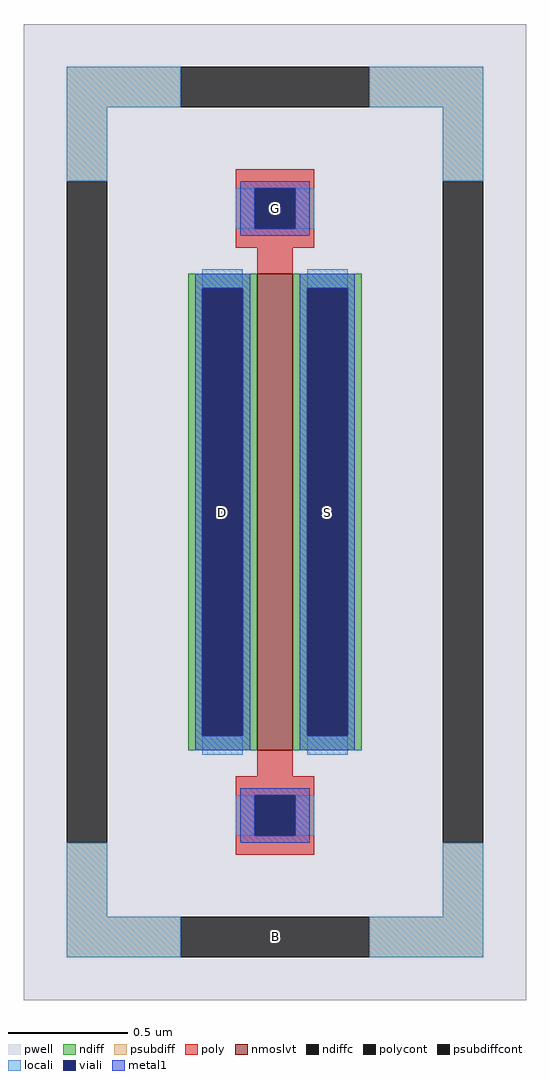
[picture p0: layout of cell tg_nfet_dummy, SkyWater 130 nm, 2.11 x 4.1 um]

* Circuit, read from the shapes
.subckt tg_nfet_dummy B D S G
XM1 S G D B sky130_fd_pr__nfet_01v8_lvt w=2 l=0.15
.ends

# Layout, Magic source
magic
tech sky130A
magscale 1 2
<< pwell >>
rect -211 -410 211 410
<< nmoslvt >>
rect -15 -200 15 200
<< ndiff >>
rect -73 188 -15 200
rect -73 -188 -61 188
rect -27 -188 -15 188
rect -73 -200 -15 -188
rect 15 188 73 200
rect 15 -188 27 188
rect 61 -188 73 188
rect 15 -200 73 -188
<< ndiffc >>
rect -61 -188 -27 188
rect 27 -188 61 188
<< psubdiff >>
rect -175 340 -79 374
rect 79 340 175 374
rect -175 278 -141 340
rect 141 278 175 340
rect -175 -340 -141 -278
rect 141 -340 175 -278
rect -175 -374 -79 -340
rect 79 -374 175 -340
<< psubdiffcont >>
rect -79 340 79 374
rect -175 -278 -141 278
rect 141 -278 175 278
rect -79 -374 79 -340
<< poly >>
rect -33 272 33 288
rect -33 238 -17 272
rect 17 238 33 272
rect -33 222 33 238
rect -15 200 15 222
rect -15 -222 15 -200
rect -33 -238 33 -222
rect -33 -272 -17 -238
rect 17 -272 33 -238
rect -33 -288 33 -272
<< polycont >>
rect -17 238 17 272
rect -17 -272 17 -238
<< locali >>
rect -175 340 -79 374
rect 79 340 175 374
rect -175 278 -141 340
rect 141 278 175 340
rect -33 238 -17 272
rect 17 238 33 272
rect -61 188 -27 204
rect -61 -204 -27 -188
rect 27 188 61 204
rect 27 -204 61 -188
rect -33 -272 -17 -238
rect 17 -272 33 -238
rect -175 -340 -141 -278
rect 141 -340 175 -278
rect -175 -374 -79 -340
rect 79 -374 175 -340
<< viali >>
rect -17 238 17 272
rect -61 -188 -27 188
rect 27 -188 61 188
rect -17 -272 17 -238
<< metal1 >>
rect -29 272 29 278
rect -29 238 -17 272
rect 17 238 29 272
rect -29 232 29 238
rect -67 188 -21 200
rect -67 -188 -61 188
rect -27 -188 -21 188
rect -67 -200 -21 -188
rect 21 188 67 200
rect 21 -188 27 188
rect 61 -188 67 188
rect 21 -200 67 -188
rect -29 -238 29 -232
rect -29 -272 -17 -238
rect 17 -272 29 -238
rect -29 -278 29 -272
<< labels >>
rlabel psubdiffcont 0 -357 0 -357 0 B
port 1 nsew
rlabel ndiffc -44 0 -44 0 0 D
port 2 nsew
rlabel ndiffc 44 0 44 0 0 S
port 3 nsew
rlabel polycont 0 255 0 255 0 G
port 4 nsew
<< properties >>
string FIXED_BBOX -158 -357 158 357
<< end >>
